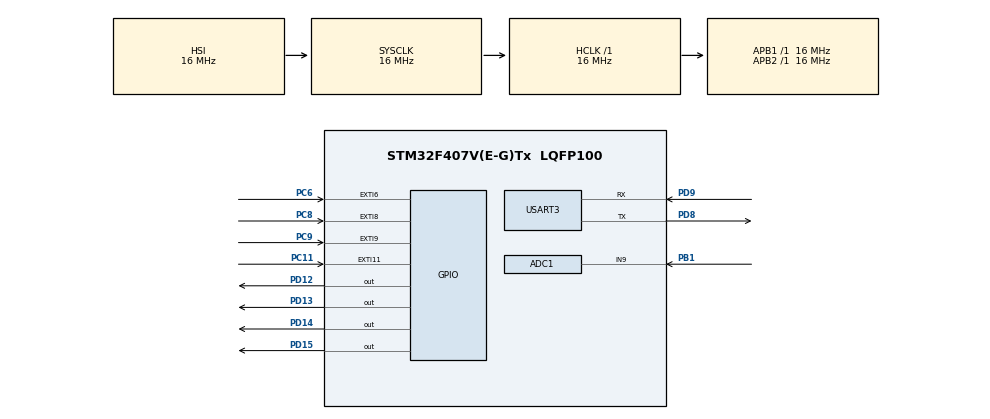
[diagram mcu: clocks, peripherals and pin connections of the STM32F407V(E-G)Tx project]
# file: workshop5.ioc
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ADC1.Channel-1\#ChannelRegularConversion=ADC_CHANNEL_9
ADC1.ClockPrescaler=ADC_CLOCK_SYNC_PCLK_DIV8
ADC1.ContinuousConvMode=ENABLE
ADC1.NbrOfConversionFlag=1
ADC1.Rank-1\#ChannelRegularConversion=1
ADC1.SamplingTime-1\#ChannelRegularConversion=ADC_SAMPLETIME_480CYCLES
ADC1.master=1
Mcu.Family=STM32F4
Mcu.Name=STM32F407V(E-G)Tx
Mcu.Package=LQFP100
NVIC.EXTI15_10_IRQn=true\:0\:0\:false\:false\:true\:true\:true
NVIC.EXTI9_5_IRQn=true\:0\:0\:false\:false\:true\:true\:true
NVIC.PriorityGroup=NVIC_PRIORITYGROUP_4
NVIC.TIM4_IRQn=true\:0\:0\:false\:false\:true\:true\:true
PB1.Signal=ADCx_IN9
PC11.GPIO_ModeDefaultEXTI=GPIO_MODE_IT_FALLING
PC11.Signal=GPXTI11
PC6.GPIO_ModeDefaultEXTI=GPIO_MODE_IT_FALLING
PC6.Signal=GPXTI6
PC8.GPIO_ModeDefaultEXTI=GPIO_MODE_IT_FALLING
PC8.Signal=GPXTI8
PC9.GPIO_ModeDefaultEXTI=GPIO_MODE_IT_FALLING
PC9.Signal=GPXTI9
PD12.Signal=GPIO_Output
PD13.Signal=GPIO_Output
PD14.Signal=GPIO_Output
PD15.Signal=GPIO_Output
PD8.Mode=Asynchronous
PD8.Signal=USART3_TX
PD9.Mode=Asynchronous
PD9.Signal=USART3_RX
ProjectManager.HeapSize=0x200
ProjectManager.StackSize=0x400
ProjectManager.TargetToolchain=STM32CubeIDE
RCC.AHBFreq_Value=16000000
RCC.APB1Freq_Value=16000000
RCC.APB2Freq_Value=16000000
RCC.CortexFreq_Value=16000000
RCC.HSE_VALUE=25000000
RCC.HSI_VALUE=16000000
RCC.SYSCLKFreq_VALUE=16000000
RCC.VCOOutputFreq_Value=192000000
SH.ADCx_IN9.0=ADC1_IN9,IN9
TIM4.AutoReloadPreload=TIM_AUTORELOAD_PRELOAD_ENABLE
TIM4.Period=5000
TIM4.Prescaler=16000
USART3.VirtualMode=VM_ASYNC
VP_TIM4_VS_ClockSourceINT.Mode=Internal
board=custom

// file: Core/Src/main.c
/* USER CODE BEGIN Header */
/**
  ******************************************************************************
  * @file           : main.c
  * @brief          : Main program body
  ******************************************************************************
  * @attention
  *
  * <h2><center>&copy; Copyright (c) 2021 STMicroelectronics.
  * All rights reserved.</center></h2>
  *
  * This software component is licensed by ST under BSD 3-Clause license,
  * the "License"; You may not use this file except in compliance with the
  * License. You may obtain a copy of the License at:
  *                        opensource.org/licenses/BSD-3-Clause
  *
  ******************************************************************************
  */
/* USER CODE END Header */
#include "main.h"

/* USER CODE BEGIN Includes */

#include "stdio.h"
#include "string.h"

/* USER CODE END Includes */

ADC_HandleTypeDef hadc1;

TIM_HandleTypeDef htim4;

UART_HandleTypeDef huart3;

/* USER CODE BEGIN PV */

uint32_t adcValue = 0;
volatile HAL_StatusTypeDef adcPollResult;
char arr [ 20 ] = { 0 };

/* USER CODE END PV */

void SystemClock_Config(void);
static void MX_GPIO_Init(void);
static void MX_USART3_UART_Init(void);
static void MX_ADC1_Init(void);
static void MX_TIM4_Init(void);

int main(void)
{

  /* MCU Configuration--------------------------------------------------------*/

  /* Reset of all peripherals, Initializes the Flash interface and the Systick. */
  HAL_Init();

  /* Configure the system clock */
  SystemClock_Config();

  /* Initialize all configured peripherals */
  MX_GPIO_Init();
  MX_USART3_UART_Init();
  MX_ADC1_Init();
  MX_TIM4_Init();

  /* Infinite loop */
  /* USER CODE BEGIN WHILE */

  	  HAL_TIM_Base_Start_IT(&htim4);

  while (1)
  {
//temp
	  adcPollResult = HAL_ADC_PollForConversion(&hadc1, 100);

	  if( adcPollResult == HAL_OK)
		  adcValue = HAL_ADC_GetValue(&hadc1);

	  sprintf( arr, "Temp:%ld\r\n\0", adcValue );
//

	  uint8_t rcvBuf[ 1 ];
	  HAL_StatusTypeDef result;

	  result = HAL_UART_Receive( &huart3, rcvBuf, 1, 10 );

	  	 if( result == HAL_OK )
	  	 {
	  		 switch( rcvBuf[0] )
	  		 {
	  		 	 case '1':
	  		 		 HAL_GPIO_TogglePin( GPIOD, GPIO_PIN_15 );
	  		 		 if( HAL_GPIO_ReadPin(GPIOD, GPIO_PIN_15) )
	  		 		 	 HAL_UART_Transmit( &huart3, (uint8_t *)"Blue ON\r\n", 7+2, 10 );
	  		 		 else
	  		 			HAL_UART_Transmit( &huart3, (uint8_t *)"Blue OFF\r\n", 8+2, 10 );
	  		 		 break;

	  		 	 case '2':
	  		 		 HAL_GPIO_TogglePin( GPIOD, GPIO_PIN_14 );
	  		 		 if( HAL_GPIO_ReadPin(GPIOD, GPIO_PIN_14) )
	  		 			 HAL_UART_Transmit( &huart3, (uint8_t *)"Red ON\r\n", 6+2, 10 );
	  		 		 else
	  		 			 HAL_UART_Transmit( &huart3, (uint8_t *)"Red OFF\r\n", 7+2, 10 );
	  		 		 break;

	  		 	 case '3':
	  		 		 HAL_GPIO_TogglePin( GPIOD, GPIO_PIN_13 );
	  		 		 if( HAL_GPIO_ReadPin(GPIOD, GPIO_PIN_13) )
	  		 		 HAL_UART_Transmit( &huart3, (uint8_t *)"Orange ON\r\n", 9+2, 10 );
	  		 		 else
	  		 			HAL_UART_Transmit( &huart3, (uint8_t *)"Orange OFF\r\n", 10+2, 10 );
	  		 		 break;

	  		 	 case '4':
	  		 		 HAL_GPIO_TogglePin( GPIOD, GPIO_PIN_12 );
	  		 		 if( HAL_GPIO_ReadPin(GPIOD, GPIO_PIN_12) )
	  		 			 HAL_UART_Transmit( &huart3, (uint8_t *)"Green ON\r\n", 8+2, 10 );
	  		 		 else
	  		 			HAL_UART_Transmit( &huart3, (uint8_t *)"Green OFF\r\n", 9+2, 10 );
	  		 		 break;
	  		 }
	  	 }

    /* USER CODE END WHILE */

  }
}

void SystemClock_Config(void)
{
  RCC_OscInitTypeDef RCC_OscInitStruct = {0};
  RCC_ClkInitTypeDef RCC_ClkInitStruct = {0};

  /** Configure the main internal regulator output voltage
  */
  __HAL_RCC_PWR_CLK_ENABLE();
  __HAL_PWR_VOLTAGESCALING_CONFIG(PWR_REGULATOR_VOLTAGE_SCALE1);
  /** Initializes the RCC Oscillators according to the specified parameters
  * in the RCC_OscInitTypeDef structure.
  */
  RCC_OscInitStruct.OscillatorType = RCC_OSCILLATORTYPE_HSI;
  RCC_OscInitStruct.HSIState = RCC_HSI_ON;
  RCC_OscInitStruct.HSICalibrationValue = RCC_HSICALIBRATION_DEFAULT;
  RCC_OscInitStruct.PLL.PLLState = RCC_PLL_NONE;
  if (HAL_RCC_OscConfig(&RCC_OscInitStruct) != HAL_OK)
  {
    Error_Handler();
  }
  /** Initializes the CPU, AHB and APB buses clocks
  */
  RCC_ClkInitStruct.ClockType = RCC_CLOCKTYPE_HCLK|RCC_CLOCKTYPE_SYSCLK
                              |RCC_CLOCKTYPE_PCLK1|RCC_CLOCKTYPE_PCLK2;
  RCC_ClkInitStruct.SYSCLKSource = RCC_SYSCLKSOURCE_HSI;
  RCC_ClkInitStruct.AHBCLKDivider = RCC_SYSCLK_DIV1;
  RCC_ClkInitStruct.APB1CLKDivider = RCC_HCLK_DIV1;
  RCC_ClkInitStruct.APB2CLKDivider = RCC_HCLK_DIV1;

  if (HAL_RCC_ClockConfig(&RCC_ClkInitStruct, FLASH_LATENCY_0) != HAL_OK)
  {
    Error_Handler();
  }
}

static void MX_ADC1_Init(void)
{

  ADC_ChannelConfTypeDef sConfig = {0};

  /** Configure the global features of the ADC (Clock, Resolution, Data Alignment and number of conversion)
  */
  hadc1.Instance = ADC1;
  hadc1.Init.ClockPrescaler = ADC_CLOCK_SYNC_PCLK_DIV8;
  hadc1.Init.Resolution = ADC_RESOLUTION_12B;
  hadc1.Init.ScanConvMode = DISABLE;
  hadc1.Init.ContinuousConvMode = ENABLE;
  hadc1.Init.DiscontinuousConvMode = DISABLE;
  hadc1.Init.ExternalTrigConvEdge = ADC_EXTERNALTRIGCONVEDGE_NONE;
  hadc1.Init.ExternalTrigConv = ADC_SOFTWARE_START;
  hadc1.Init.DataAlign = ADC_DATAALIGN_RIGHT;
  hadc1.Init.NbrOfConversion = 1;
  hadc1.Init.DMAContinuousRequests = DISABLE;
  hadc1.Init.EOCSelection = ADC_EOC_SINGLE_CONV;
  if (HAL_ADC_Init(&hadc1) != HAL_OK)
  {
    Error_Handler();
  }
  /** Configure for the selected ADC regular channel its corresponding rank in the sequencer and its sample time.
  */
  sConfig.Channel = ADC_CHANNEL_9;
  sConfig.Rank = 1;
  sConfig.SamplingTime = ADC_SAMPLETIME_480CYCLES;
  if (HAL_ADC_ConfigChannel(&hadc1, &sConfig) != HAL_OK)
  {
    Error_Handler();
  }

}

static void MX_TIM4_Init(void)
{

  TIM_ClockConfigTypeDef sClockSourceConfig = {0};
  TIM_MasterConfigTypeDef sMasterConfig = {0};

  htim4.Instance = TIM4;
  htim4.Init.Prescaler = 16000;
  htim4.Init.CounterMode = TIM_COUNTERMODE_UP;
  htim4.Init.Period = 5000;
  htim4.Init.ClockDivision = TIM_CLOCKDIVISION_DIV1;
  htim4.Init.AutoReloadPreload = TIM_AUTORELOAD_PRELOAD_ENABLE;
  if (HAL_TIM_Base_Init(&htim4) != HAL_OK)
  {
    Error_Handler();
  }
  sClockSourceConfig.ClockSource = TIM_CLOCKSOURCE_INTERNAL;
  if (HAL_TIM_ConfigClockSource(&htim4, &sClockSourceConfig) != HAL_OK)
  {
    Error_Handler();
  }
  sMasterConfig.MasterOutputTrigger = TIM_TRGO_RESET;
  sMasterConfig.MasterSlaveMode = TIM_MASTERSLAVEMODE_DISABLE;
  if (HAL_TIMEx_MasterConfigSynchronization(&htim4, &sMasterConfig) != HAL_OK)
  {
    Error_Handler();
  }

}

static void MX_USART3_UART_Init(void)
{

  huart3.Instance = USART3;
  huart3.Init.BaudRate = 115200;
  huart3.Init.WordLength = UART_WORDLENGTH_8B;
  huart3.Init.StopBits = UART_STOPBITS_1;
  huart3.Init.Parity = UART_PARITY_NONE;
  huart3.Init.Mode = UART_MODE_TX_RX;
  huart3.Init.HwFlowCtl = UART_HWCONTROL_NONE;
  huart3.Init.OverSampling = UART_OVERSAMPLING_16;
  if (HAL_UART_Init(&huart3) != HAL_OK)
  {
    Error_Handler();
  }

}

static void MX_GPIO_Init(void)
{
  GPIO_InitTypeDef GPIO_InitStruct = {0};

  /* GPIO Ports Clock Enable */
  __HAL_RCC_GPIOB_CLK_ENABLE();
  __HAL_RCC_GPIOD_CLK_ENABLE();
  __HAL_RCC_GPIOC_CLK_ENABLE();

  /*Configure GPIO pin Output Level */
  HAL_GPIO_WritePin(GPIOD, GPIO_PIN_12|GPIO_PIN_13|GPIO_PIN_14|GPIO_PIN_15, GPIO_PIN_RESET);

  /*Configure GPIO pins : PD12 PD13 PD14 PD15 */
  GPIO_InitStruct.Pin = GPIO_PIN_12|GPIO_PIN_13|GPIO_PIN_14|GPIO_PIN_15;
  GPIO_InitStruct.Mode = GPIO_MODE_OUTPUT_PP;
  GPIO_InitStruct.Pull = GPIO_NOPULL;
  GPIO_InitStruct.Speed = GPIO_SPEED_FREQ_LOW;
  HAL_GPIO_Init(GPIOD, &GPIO_InitStruct);

  /*Configure GPIO pins : PC6 PC8 PC9 PC11 */
  GPIO_InitStruct.Pin = GPIO_PIN_6|GPIO_PIN_8|GPIO_PIN_9|GPIO_PIN_11;
  GPIO_InitStruct.Mode = GPIO_MODE_IT_FALLING;
  GPIO_InitStruct.Pull = GPIO_NOPULL;
  HAL_GPIO_Init(GPIOC, &GPIO_InitStruct);

  /* EXTI interrupt init*/
  HAL_NVIC_SetPriority(EXTI9_5_IRQn, 0, 0);
  HAL_NVIC_EnableIRQ(EXTI9_5_IRQn);

  HAL_NVIC_SetPriority(EXTI15_10_IRQn, 0, 0);
  HAL_NVIC_EnableIRQ(EXTI15_10_IRQn);

}

/* USER CODE BEGIN 4 */

void write_temp( void )
{
		//char a [4] = "6\r\n\0";
	  HAL_UART_Transmit( &huart3, (uint8_t *) arr, strlen(arr), 10 );
		//HAL_UART_Transmit( &huart3, (uint8_t *) a, strlen(a), 10 );

}

/* USER CODE END 4 */

void Error_Handler(void)
{
  __disable_irq();
  while (1)
  {
  }
}

/************************ (C) COPYRIGHT STMicroelectronics *****END OF FILE****/
